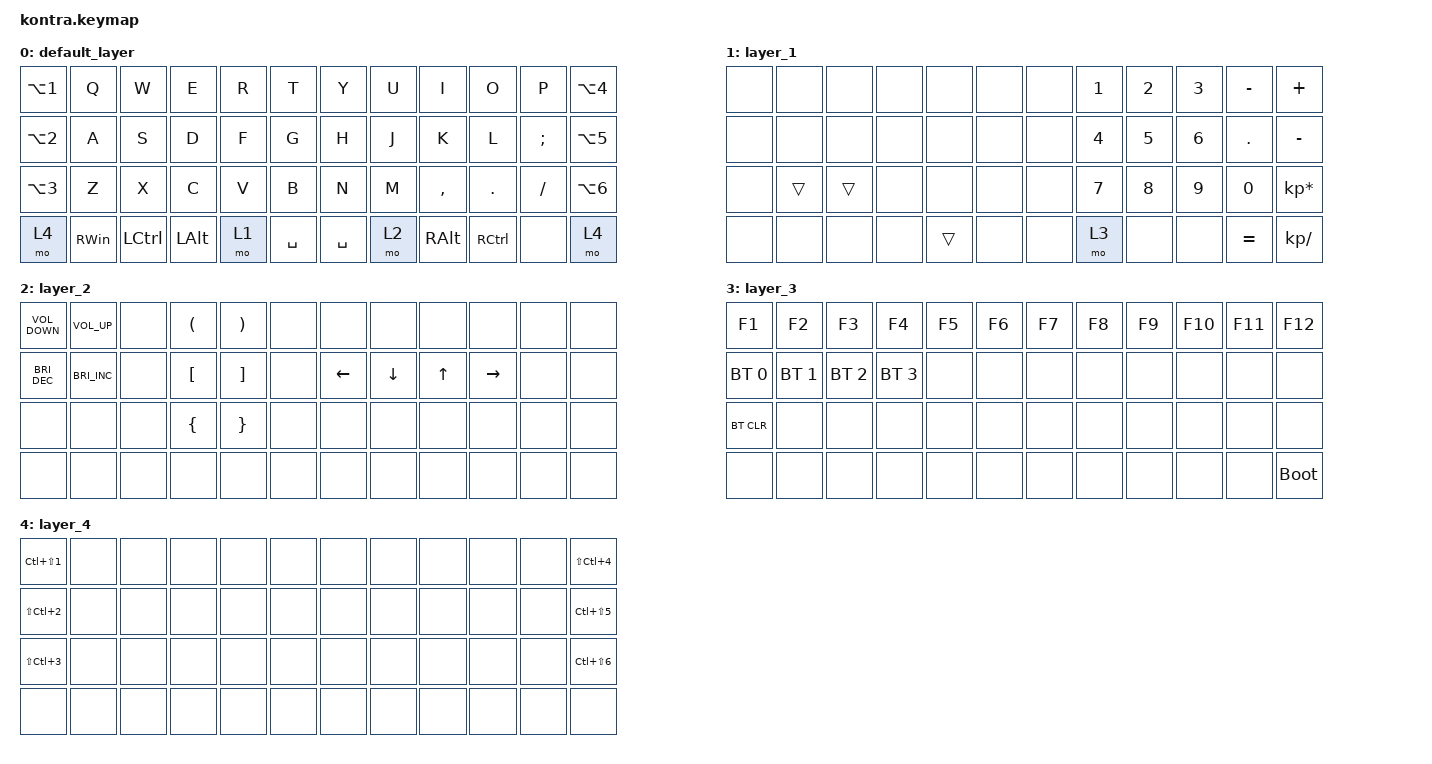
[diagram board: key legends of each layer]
/*
 * Copyright (c) 2021 The ZMK Contributors
 *
 * SPDX-License-Identifier: MIT
 */

#include <behaviors.dtsi>
#include <dt-bindings/zmk/bt.h>
#include <dt-bindings/zmk/keys.h>

#define DEFAULT  0
#define NUM_MODS 1
#define BT_CTRL  2

/ {
	combos {
		compatible = "zmk,combos";

		Escape {
			bindings = <&kp ESCAPE>;
			key-positions = <1 2>;
		};

		Tab {
			bindings = <&kp TAB>;
			key-positions = <13 14>;
		};

		Left_Shift {
			bindings = <&kp LEFT_SHIFT>;
			key-positions = <25 26>;
		};

		Right_Shift {
			bindings = <&kp RIGHT_SHIFT>;
			key-positions = <33 34>;
		};

		Enter {
			bindings = <&kp ENTER>;
			key-positions = <21 22>;
		};

		Backspace {
			bindings = <&kp BACKSPACE>;
			key-positions = <9 10>;
		};
	};

	keymap {
		compatible = "zmk,keymap";

		default_layer {
			bindings = <
				&kp LA(NUMBER_1)  &kp Q     &kp W      &kp E         &kp R  &kp T      &kp Y      &kp U  &kp I          &kp O      &kp P     &kp LA(NUMBER_4)
				&kp LA(NUMBER_2)  &kp A     &kp S      &kp D         &kp F  &kp G      &kp H      &kp J  &kp K          &kp L      &kp SEMI  &kp LA(N5)
				&kp LA(NUMBER_3)  &kp Z     &kp X      &kp C         &kp V  &kp B      &kp N      &kp M  &kp COMMA      &kp DOT    &kp FSLH  &kp LA(NUMBER_6)
				&mo 4             &kp RWIN  &kp LCTRL  &kp LEFT_ALT  &mo 1  &kp SPACE  &kp SPACE  &mo 2  &kp RIGHT_ALT  &kp RCTRL  &none     &mo 4
				>;
		};

		layer_1 {
			bindings = <
				&none  &none   &none   &none  &none   &none  &none  &kp NUMBER_1  &kp NUMBER_2  &kp NUMBER_3  &kp MINUS     &kp PLUS
				&none  &none   &none   &none  &none   &none  &none  &kp NUMBER_4  &kp NUMBER_5  &kp NUMBER_6  &kp PERIOD    &kp MINUS
				&none  &trans  &trans  &none  &none   &none  &none  &kp NUMBER_7  &kp NUMBER_8  &kp NUMBER_9  &kp NUMBER_0  &kp KP_MULTIPLY
				&none  &none   &none   &none  &trans  &none  &none  &mo 3         &none         &none         &kp EQUAL     &kp KP_DIVIDE
				>;
		};

		layer_2 {
			bindings = <
				&kp C_VOLUME_DOWN     &kp C_VOL_UP          &none  &kp LEFT_PARENTHESIS  &kp RIGHT_PARENTHESIS  &none  &none     &none           &none         &none      &none  &none
				&kp C_BRIGHTNESS_DEC  &kp C_BRIGHTNESS_INC  &none  &kp LEFT_BRACKET      &kp RIGHT_BRACKET      &none  &kp LEFT  &kp DOWN_ARROW  &kp UP_ARROW  &kp RIGHT  &none  &none
				&none                 &none                 &none  &kp LEFT_BRACE        &kp RIGHT_BRACE        &none  &none     &none           &none         &none      &none  &none
				&none                 &none                 &none  &none                 &none                  &none  &none     &none           &none         &none      &none  &none
				>;
		};

		layer_3 {
			bindings = <
				&kp F1        &kp F2        &kp F3        &kp F4        &kp F5  &kp F6  &kp F7  &kp F8  &kp F9  &kp F10  &kp F11  &kp F12
				&bt BT_SEL 0  &bt BT_SEL 1  &bt BT_SEL 2  &bt BT_SEL 3  &none   &none   &none   &none   &none   &none    &none    &none
				&bt BT_CLR    &none         &none         &none         &none   &none   &none   &none   &none   &none    &none    &none
				&none         &none         &none         &none         &none   &none   &none   &none   &none   &none    &none    &bootloader
				>;
		};

		layer_4 {
			bindings = <
				&kp LC(LS(NUMBER_1))  &none  &none  &none  &none  &none  &none  &none  &none  &none  &none  &kp LS(LC(NUMBER_4))
				&kp LS(LC(NUMBER_2))  &none  &none  &none  &none  &none  &none  &none  &none  &none  &none  &kp LC(LS(N5))
				&kp LS(LC(NUMBER_3))  &none  &none  &none  &none  &none  &none  &none  &none  &none  &none  &kp LC(LS(NUMBER_6))
				&none                 &none  &none  &none  &none  &none  &none  &none  &none  &none  &none  &none
				>;
		};
	};
};

